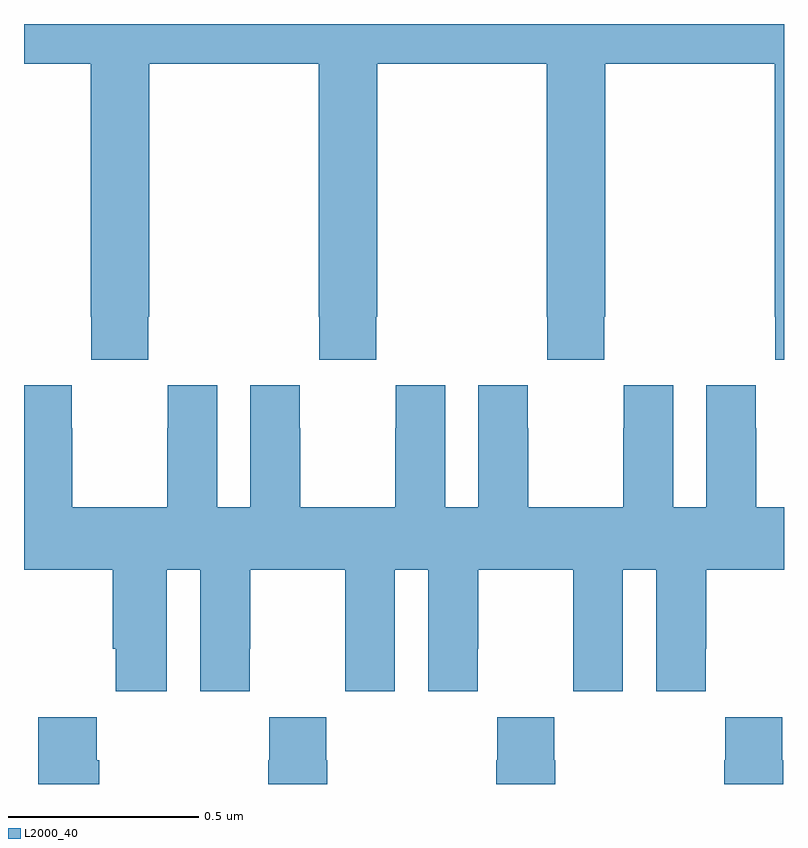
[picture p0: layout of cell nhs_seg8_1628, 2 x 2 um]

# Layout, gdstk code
import gdstk
lib = gdstk.Library(unit=1e-6, precision=1e-09)
def P(c, l, *ps):  # polygons
    for p in ps: c.add(gdstk.Polygon(p, *l))
L2000_40 = (2000, 40)

nhs_seg8_1628 = lib.new_cell('nhs_seg8_1628')
P(nhs_seg8_1628, L2000_40, [(132.327,1153.129),(132.33,1153.129),(132.33,1153.796),(132.775,1153.796),(132.775,1153.129),(132.777,1153.129),(132.777,1153.017),(132.927,1153.017),(132.927,1153.129),(132.93,1153.129),(132.93,1153.796),(133.375,1153.796),(133.375,1153.129),(133.377,1153.129),(133.377,1153.017),(133.527,1153.017),(133.527,1153.129),(133.53,1153.129),(133.53,1153.796),(133.975,1153.796),(133.975,1153.129),(133.977,1153.129),(133.977,1153.017),(134,1153.017),(134,1153.9),(132,1153.9),(132,1153.796),(132.175,1153.796),(132.175,1153.129),(132.177,1153.129),(132.177,1153.017),(132.327,1153.017)],
  [(132.376,1152.464),(132.464,1152.464),(132.464,1152.144),(132.594,1152.144),(132.594,1152.256),(132.595,1152.256),(132.595,1152.464),(132.845,1152.464),(132.845,1152.256),(132.846,1152.256),(132.846,1152.144),(132.976,1152.144),(132.976,1152.464),(133.064,1152.464),(133.064,1152.144),(133.194,1152.144),(133.194,1152.256),(133.195,1152.256),(133.195,1152.464),(133.445,1152.464),(133.445,1152.256),(133.446,1152.256),(133.446,1152.144),(133.576,1152.144),(133.576,1152.464),(133.664,1152.464),(133.664,1152.144),(133.794,1152.144),(133.794,1152.256),(133.795,1152.256),(133.795,1152.464),(134,1152.464),(134,1152.628),(133.927,1152.628),(133.927,1152.836),(133.926,1152.836),(133.926,1152.949),(133.796,1152.949),(133.796,1152.628),(133.708,1152.628),(133.708,1152.949),(133.578,1152.949),(133.578,1152.836),(133.577,1152.836),(133.577,1152.628),(133.327,1152.628),(133.327,1152.836),(133.326,1152.836),(133.326,1152.949),(133.196,1152.949),(133.196,1152.628),(133.108,1152.628),(133.108,1152.949),(132.978,1152.949),(132.978,1152.836),(132.977,1152.836),(132.977,1152.628),(132.727,1152.628),(132.727,1152.836),(132.726,1152.836),(132.726,1152.949),(132.596,1152.949),(132.596,1152.628),(132.508,1152.628),(132.508,1152.949),(132.378,1152.949),(132.378,1152.836),(132.377,1152.836),(132.377,1152.628),(132.127,1152.628),(132.127,1152.836),(132.126,1152.836),(132.126,1152.949),(132,1152.949),(132,1152.464),(132.233,1152.464),(132.233,1152.256),(132.242,1152.256),(132.242,1152.144),(132.376,1152.144)],
  [(133.398,1151.963),(133.395,1151.963),(133.395,1152.076),(133.245,1152.076),(133.245,1151.963),(133.243,1151.963),(133.243,1151.9),(133.398,1151.9)],
  [(132.198,1151.963),(132.191,1151.963),(132.191,1152.076),(132.038,1152.076),(132.038,1151.9),(132.198,1151.9)],
  [(132.798,1151.963),(132.795,1151.963),(132.795,1152.076),(132.645,1152.076),(132.645,1151.963),(132.643,1151.963),(132.643,1151.9),(132.798,1151.9)],
  [(133.998,1151.963),(133.995,1151.963),(133.995,1152.076),(133.845,1152.076),(133.845,1151.963),(133.843,1151.963),(133.843,1151.9),(133.998,1151.9)])

lib.write_gds('nhs_seg8_1628.gds')
